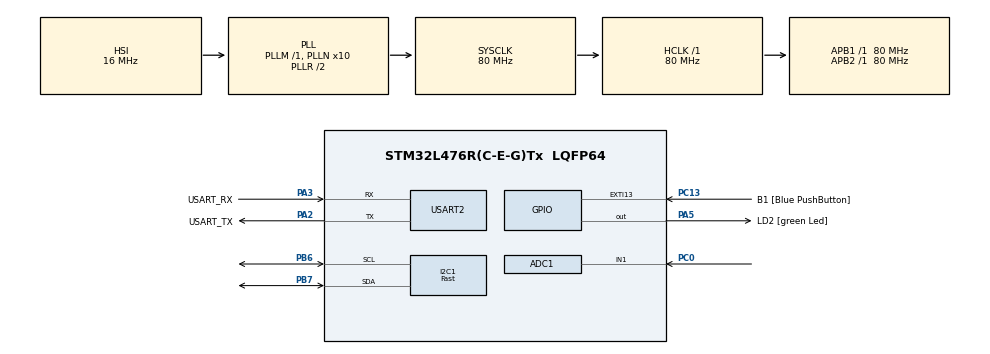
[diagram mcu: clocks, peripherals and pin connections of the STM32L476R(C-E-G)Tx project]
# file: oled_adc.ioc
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ADC1.Channel-0\#ChannelRegularConversion=ADC_CHANNEL_1
ADC1.ContinuousConvMode=ENABLE
ADC1.EOCSelection=ADC_EOC_SEQ_CONV
ADC1.NbrOfConversionFlag=1
ADC1.OffsetNumber-0\#ChannelRegularConversion=ADC_OFFSET_NONE
ADC1.Overrun=ADC_OVR_DATA_OVERWRITTEN
ADC1.Rank-0\#ChannelRegularConversion=1
ADC1.SamplingTime-0\#ChannelRegularConversion=ADC_SAMPLETIME_2CYCLES_5
ADC1.master=1
I2C1.I2C_Speed_Mode=I2C_Fast
I2C1.Timing=0x00702991
Mcu.Family=STM32L4
Mcu.Name=STM32L476R(C-E-G)Tx
Mcu.Package=LQFP64
NVIC.PriorityGroup=NVIC_PRIORITYGROUP_4
PA13\ (JTMS-SWDIO).GPIO_Label=TMS
PA13\ (JTMS-SWDIO).Mode=Serial_Wire
PA13\ (JTMS-SWDIO).Signal=SYS_JTMS-SWDIO
PA14\ (JTCK-SWCLK).GPIO_Label=TCK
PA14\ (JTCK-SWCLK).Mode=Serial_Wire
PA14\ (JTCK-SWCLK).Signal=SYS_JTCK-SWCLK
PA2.GPIO_Label=USART_TX
PA2.GPIO_Mode=GPIO_MODE_AF_PP
PA2.GPIO_PuPd=GPIO_NOPULL
PA2.GPIO_Speed=GPIO_SPEED_FREQ_VERY_HIGH
PA2.Mode=Asynchronous
PA2.Signal=USART2_TX
PA3.GPIO_Label=USART_RX
PA3.GPIO_Mode=GPIO_MODE_AF_PP
PA3.GPIO_PuPd=GPIO_NOPULL
PA3.GPIO_Speed=GPIO_SPEED_FREQ_VERY_HIGH
PA3.Mode=Asynchronous
PA3.Signal=USART2_RX
PA5.GPIO_Label=LD2 [green Led]
PA5.GPIO_ModeDefaultOutputPP=GPIO_MODE_OUTPUT_PP
PA5.GPIO_PuPd=GPIO_NOPULL
PA5.GPIO_Speed=GPIO_SPEED_FREQ_LOW
PA5.Signal=GPIO_Output
PB3\ (JTDO-TRACESWO).GPIO_Label=SWO
PB3\ (JTDO-TRACESWO).Signal=SYS_JTDO-SWO
PB6.Mode=I2C
PB6.Signal=I2C1_SCL
PB7.Mode=I2C
PB7.Signal=I2C1_SDA
PC0.Signal=ADCx_IN1
PC13.GPIO_Label=B1 [Blue PushButton]
PC13.GPIO_ModeDefaultEXTI=GPIO_MODE_IT_FALLING
PC13.GPIO_PuPd=GPIO_NOPULL
PC13.Signal=GPXTI13
PC14-OSC32_IN\ (PC14).Mode=LSE-External-Oscillator
PC14-OSC32_IN\ (PC14).Signal=RCC_OSC32_IN
PC15-OSC32_OUT\ (PC15).Mode=LSE-External-Oscillator
PC15-OSC32_OUT\ (PC15).Signal=RCC_OSC32_OUT
PH0-OSC_IN\ (PH0).Signal=RCC_OSC_IN
PH1-OSC_OUT\ (PH1).Signal=RCC_OSC_OUT
ProjectManager.HeapSize=0x200
ProjectManager.StackSize=0x400
ProjectManager.TargetToolchain=STM32CubeIDE
RCC.ADCFreq_Value=64000000
RCC.AHBFreq_Value=80000000
RCC.APB1Freq_Value=80000000
RCC.APB1TimFreq_Value=80000000
RCC.APB2Freq_Value=80000000
RCC.APB2TimFreq_Value=80000000
RCC.CortexFreq_Value=80000000
RCC.HCLKFreq_Value=80000000
RCC.HSE_VALUE=8000000
RCC.HSI_VALUE=16000000
RCC.MSI_VALUE=4000000
RCC.PLLN=10
RCC.PLLSourceVirtual=RCC_PLLSOURCE_HSI
RCC.PREFETCH_ENABLE=1
RCC.SYSCLKFreq_VALUE=80000000
RCC.SYSCLKSource=RCC_SYSCLKSOURCE_PLLCLK
RCC.USBFreq_Value=64000000
RCC.VCOOutputFreq_Value=160000000
SH.ADCx_IN1.0=ADC1_IN1,IN1-Single-Ended
USART2.VirtualMode-Asynchronous=VM_ASYNC
board=NUCLEO-L476RG

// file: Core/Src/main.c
/* USER CODE BEGIN Header */
/**
  ******************************************************************************
  * @file           : main.c
  * @brief          : Main program body
  ******************************************************************************
  * @attention
  *
  * <h2><center>&copy; Copyright (c) 2020 STMicroelectronics.
  * All rights reserved.</center></h2>
  *
  * This software component is licensed by ST under BSD 3-Clause license,
  * the "License"; You may not use this file except in compliance with the
  * License. You may obtain a copy of the License at:
  *                        opensource.org/licenses/BSD-3-Clause
  *
  ******************************************************************************
  */
/* USER CODE END Header */
#include "main.h"

/* USER CODE BEGIN Includes */
#include "ssd1306.h"
#include "fonts.h"
#include "test.h"
#include "bitmap.h"
#include "horse_anim.h"
#include "string.h"
#include "stdio.h"
/* USER CODE END Includes */

ADC_HandleTypeDef hadc1;

I2C_HandleTypeDef hi2c1;

UART_HandleTypeDef huart2;

void SystemClock_Config(void);
static void MX_GPIO_Init(void);
static void MX_USART2_UART_Init(void);
static void MX_ADC1_Init(void);
static void MX_I2C1_Init(void);

/* USER CODE BEGIN 0 */
uint16_t value_adc = 4096; // adc_value
float volts = 0;
char msg[5];
/* USER CODE END 0 */

int main(void)
{

  /* MCU Configuration--------------------------------------------------------*/

  /* Reset of all peripherals, Initializes the Flash interface and the Systick. */
  HAL_Init();

  /* Configure the system clock */
  SystemClock_Config();

  /* Initialize all configured peripherals */
  MX_GPIO_Init();
  MX_USART2_UART_Init();
  MX_ADC1_Init();
  MX_I2C1_Init();
  /* USER CODE BEGIN 2 */
  SSD1306_Init (); // initialize the diaply
  SSD1306_GotoXY (8,0); // goto 10, 10
  SSD1306_Puts ("Voltmeter", &Font_11x18, 1); // print Hello
  SSD1306_UpdateScreen(); // update screen
  //HAL_Delay(3000);
  SSD1306_GotoXY (0,20);
  SSD1306_Puts ("Digit:  ", &Font_11x18, 1);
  SSD1306_GotoXY (0,42);
  SSD1306_Puts ("Volts:  ", &Font_11x18, 1);
  SSD1306_UpdateScreen(); // update screen
  // Get ADC value
  HAL_ADC_Start(&hadc1);
  HAL_ADC_PollForConversion(&hadc1, HAL_MAX_DELAY);
  /* USER CODE END 2 */

  /* Infinite loop */
  while (1)
  {

    /* USER CODE BEGIN 3 */
	value_adc = HAL_ADC_GetValue(&hadc1);
	SSD1306_GotoXY (70,20); // goto 10, 10
	SSD1306_Putc ((char)(value_adc/1000+48), &Font_11x18, 1);
	SSD1306_Putc ((char)((value_adc%1000)/100+48), &Font_11x18, 1);
	SSD1306_Putc ((char)((value_adc%100)/10+48), &Font_11x18, 1);
	SSD1306_Putc ((char)(value_adc%10+48), &Font_11x18, 1);
    volts = value_adc*333/4096;
    SSD1306_GotoXY (70,42); // goto 10, 10
	SSD1306_Putc ((char)((int)(volts)/100+48), &Font_11x18, 1);
	SSD1306_Puts (".", &Font_11x18, 1);
	SSD1306_Putc ((char)(((int)(volts)%100)/10+48), &Font_11x18, 1);
	SSD1306_Putc ((char)((int)(volts)%10+48), &Font_11x18, 1);
	SSD1306_UpdateScreen(); // update screen
    //Convert to string and print
    sprintf(msg,"%hu\r\n",value_adc);
	HAL_UART_Transmit(&huart2, (uint8_t*)msg, strlen(msg), HAL_MAX_DELAY);
	HAL_Delay(100);

  }
  /* USER CODE END 3 */
}

void SystemClock_Config(void)
{
  RCC_OscInitTypeDef RCC_OscInitStruct = {0};
  RCC_ClkInitTypeDef RCC_ClkInitStruct = {0};
  RCC_PeriphCLKInitTypeDef PeriphClkInit = {0};

  /** Initializes the RCC Oscillators according to the specified parameters
  * in the RCC_OscInitTypeDef structure.
  */
  RCC_OscInitStruct.OscillatorType = RCC_OSCILLATORTYPE_HSI;
  RCC_OscInitStruct.HSIState = RCC_HSI_ON;
  RCC_OscInitStruct.HSICalibrationValue = RCC_HSICALIBRATION_DEFAULT;
  RCC_OscInitStruct.PLL.PLLState = RCC_PLL_ON;
  RCC_OscInitStruct.PLL.PLLSource = RCC_PLLSOURCE_HSI;
  RCC_OscInitStruct.PLL.PLLM = 1;
  RCC_OscInitStruct.PLL.PLLN = 10;
  RCC_OscInitStruct.PLL.PLLP = RCC_PLLP_DIV7;
  RCC_OscInitStruct.PLL.PLLQ = RCC_PLLQ_DIV2;
  RCC_OscInitStruct.PLL.PLLR = RCC_PLLR_DIV2;
  if (HAL_RCC_OscConfig(&RCC_OscInitStruct) != HAL_OK)
  {
    Error_Handler();
  }
  /** Initializes the CPU, AHB and APB buses clocks
  */
  RCC_ClkInitStruct.ClockType = RCC_CLOCKTYPE_HCLK|RCC_CLOCKTYPE_SYSCLK
                              |RCC_CLOCKTYPE_PCLK1|RCC_CLOCKTYPE_PCLK2;
  RCC_ClkInitStruct.SYSCLKSource = RCC_SYSCLKSOURCE_PLLCLK;
  RCC_ClkInitStruct.AHBCLKDivider = RCC_SYSCLK_DIV1;
  RCC_ClkInitStruct.APB1CLKDivider = RCC_HCLK_DIV1;
  RCC_ClkInitStruct.APB2CLKDivider = RCC_HCLK_DIV1;

  if (HAL_RCC_ClockConfig(&RCC_ClkInitStruct, FLASH_LATENCY_4) != HAL_OK)
  {
    Error_Handler();
  }
  PeriphClkInit.PeriphClockSelection = RCC_PERIPHCLK_USART2|RCC_PERIPHCLK_I2C1
                              |RCC_PERIPHCLK_ADC;
  PeriphClkInit.Usart2ClockSelection = RCC_USART2CLKSOURCE_PCLK1;
  PeriphClkInit.I2c1ClockSelection = RCC_I2C1CLKSOURCE_PCLK1;
  PeriphClkInit.AdcClockSelection = RCC_ADCCLKSOURCE_PLLSAI1;
  PeriphClkInit.PLLSAI1.PLLSAI1Source = RCC_PLLSOURCE_HSI;
  PeriphClkInit.PLLSAI1.PLLSAI1M = 1;
  PeriphClkInit.PLLSAI1.PLLSAI1N = 8;
  PeriphClkInit.PLLSAI1.PLLSAI1P = RCC_PLLP_DIV7;
  PeriphClkInit.PLLSAI1.PLLSAI1Q = RCC_PLLQ_DIV2;
  PeriphClkInit.PLLSAI1.PLLSAI1R = RCC_PLLR_DIV2;
  PeriphClkInit.PLLSAI1.PLLSAI1ClockOut = RCC_PLLSAI1_ADC1CLK;
  if (HAL_RCCEx_PeriphCLKConfig(&PeriphClkInit) != HAL_OK)
  {
    Error_Handler();
  }
  /** Configure the main internal regulator output voltage
  */
  if (HAL_PWREx_ControlVoltageScaling(PWR_REGULATOR_VOLTAGE_SCALE1) != HAL_OK)
  {
    Error_Handler();
  }
}

static void MX_ADC1_Init(void)
{

  ADC_MultiModeTypeDef multimode = {0};
  ADC_ChannelConfTypeDef sConfig = {0};

  /** Common config
  */
  hadc1.Instance = ADC1;
  hadc1.Init.ClockPrescaler = ADC_CLOCK_ASYNC_DIV1;
  hadc1.Init.Resolution = ADC_RESOLUTION_12B;
  hadc1.Init.DataAlign = ADC_DATAALIGN_RIGHT;
  hadc1.Init.ScanConvMode = ADC_SCAN_DISABLE;
  hadc1.Init.EOCSelection = ADC_EOC_SEQ_CONV;
  hadc1.Init.LowPowerAutoWait = DISABLE;
  hadc1.Init.ContinuousConvMode = ENABLE;
  hadc1.Init.NbrOfConversion = 1;
  hadc1.Init.DiscontinuousConvMode = DISABLE;
  hadc1.Init.ExternalTrigConv = ADC_SOFTWARE_START;
  hadc1.Init.ExternalTrigConvEdge = ADC_EXTERNALTRIGCONVEDGE_NONE;
  hadc1.Init.DMAContinuousRequests = DISABLE;
  hadc1.Init.Overrun = ADC_OVR_DATA_OVERWRITTEN;
  hadc1.Init.OversamplingMode = DISABLE;
  if (HAL_ADC_Init(&hadc1) != HAL_OK)
  {
    Error_Handler();
  }
  /** Configure the ADC multi-mode
  */
  multimode.Mode = ADC_MODE_INDEPENDENT;
  if (HAL_ADCEx_MultiModeConfigChannel(&hadc1, &multimode) != HAL_OK)
  {
    Error_Handler();
  }
  /** Configure Regular Channel
  */
  sConfig.Channel = ADC_CHANNEL_1;
  sConfig.Rank = ADC_REGULAR_RANK_1;
  sConfig.SamplingTime = ADC_SAMPLETIME_2CYCLES_5;
  sConfig.SingleDiff = ADC_SINGLE_ENDED;
  sConfig.OffsetNumber = ADC_OFFSET_NONE;
  sConfig.Offset = 0;
  if (HAL_ADC_ConfigChannel(&hadc1, &sConfig) != HAL_OK)
  {
    Error_Handler();
  }

}

static void MX_I2C1_Init(void)
{

  hi2c1.Instance = I2C1;
  hi2c1.Init.Timing = 0x00702991;
  hi2c1.Init.OwnAddress1 = 0;
  hi2c1.Init.AddressingMode = I2C_ADDRESSINGMODE_7BIT;
  hi2c1.Init.DualAddressMode = I2C_DUALADDRESS_DISABLE;
  hi2c1.Init.OwnAddress2 = 0;
  hi2c1.Init.OwnAddress2Masks = I2C_OA2_NOMASK;
  hi2c1.Init.GeneralCallMode = I2C_GENERALCALL_DISABLE;
  hi2c1.Init.NoStretchMode = I2C_NOSTRETCH_DISABLE;
  if (HAL_I2C_Init(&hi2c1) != HAL_OK)
  {
    Error_Handler();
  }
  /** Configure Analogue filter
  */
  if (HAL_I2CEx_ConfigAnalogFilter(&hi2c1, I2C_ANALOGFILTER_ENABLE) != HAL_OK)
  {
    Error_Handler();
  }
  /** Configure Digital filter
  */
  if (HAL_I2CEx_ConfigDigitalFilter(&hi2c1, 0) != HAL_OK)
  {
    Error_Handler();
  }

}

static void MX_USART2_UART_Init(void)
{

  huart2.Instance = USART2;
  huart2.Init.BaudRate = 115200;
  huart2.Init.WordLength = UART_WORDLENGTH_8B;
  huart2.Init.StopBits = UART_STOPBITS_1;
  huart2.Init.Parity = UART_PARITY_NONE;
  huart2.Init.Mode = UART_MODE_TX_RX;
  huart2.Init.HwFlowCtl = UART_HWCONTROL_NONE;
  huart2.Init.OverSampling = UART_OVERSAMPLING_16;
  huart2.Init.OneBitSampling = UART_ONE_BIT_SAMPLE_DISABLE;
  huart2.AdvancedInit.AdvFeatureInit = UART_ADVFEATURE_NO_INIT;
  if (HAL_UART_Init(&huart2) != HAL_OK)
  {
    Error_Handler();
  }

}

static void MX_GPIO_Init(void)
{
  GPIO_InitTypeDef GPIO_InitStruct = {0};

  /* GPIO Ports Clock Enable */
  __HAL_RCC_GPIOC_CLK_ENABLE();
  __HAL_RCC_GPIOH_CLK_ENABLE();
  __HAL_RCC_GPIOA_CLK_ENABLE();
  __HAL_RCC_GPIOB_CLK_ENABLE();

  /*Configure GPIO pin Output Level */
  HAL_GPIO_WritePin(LD2_GPIO_Port, LD2_Pin, GPIO_PIN_RESET);

  /*Configure GPIO pin : B1_Pin */
  GPIO_InitStruct.Pin = B1_Pin;
  GPIO_InitStruct.Mode = GPIO_MODE_IT_FALLING;
  GPIO_InitStruct.Pull = GPIO_NOPULL;
  HAL_GPIO_Init(B1_GPIO_Port, &GPIO_InitStruct);

  /*Configure GPIO pin : LD2_Pin */
  GPIO_InitStruct.Pin = LD2_Pin;
  GPIO_InitStruct.Mode = GPIO_MODE_OUTPUT_PP;
  GPIO_InitStruct.Pull = GPIO_NOPULL;
  GPIO_InitStruct.Speed = GPIO_SPEED_FREQ_LOW;
  HAL_GPIO_Init(LD2_GPIO_Port, &GPIO_InitStruct);

}

void Error_Handler(void)
{
}

/************************ (C) COPYRIGHT STMicroelectronics *****END OF FILE****/
